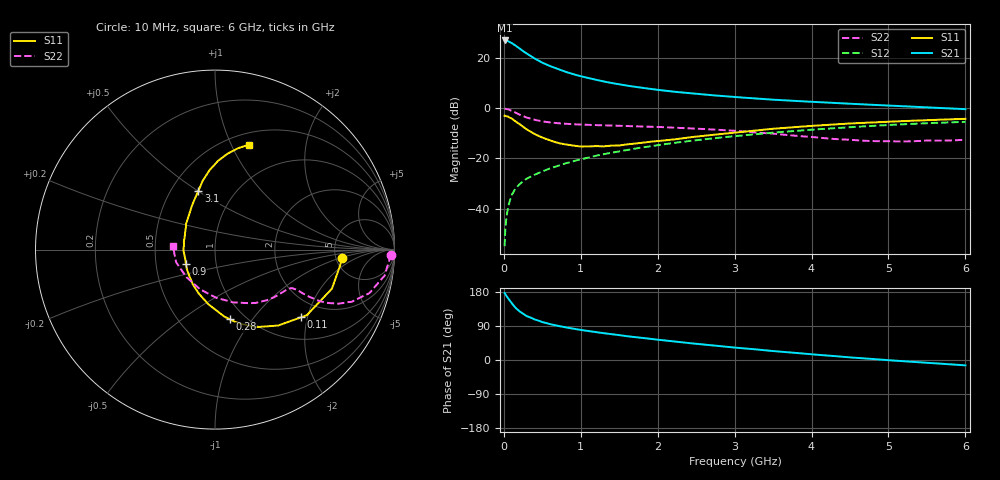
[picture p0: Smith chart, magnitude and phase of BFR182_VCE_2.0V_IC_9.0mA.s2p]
! (c) 2015  Infineon Technologies AG, Munich
! Infineon Technologies  Discrete & RF Semiconductors
! BFR182
! VCE =  2.0 V,  IC =  9.0 mA
! Common Emitter S-Parameters:  Nov 2015
# GHz  S  MA  R  50
!  f  S11  S21  S12  S22
! GHz  MAG  ANG  MAG  ANG  MAG  ANG  MAG  ANG
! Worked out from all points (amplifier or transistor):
!   210 points, 10 MHz to 6 GHz, reference 50 ohm
!   highest |S21| = 27.0 dB at 10 MHz (marker M1)
!   |S21| within 3 dB of that: start of sweep to 195.2 MHz
!   unconditionally stable (mu >= 1): 790.1 MHz to 2.677 GHz
!   at 185 MHz: K = 0.49, MSG = 27.5 dB, |S12| = -30.8 dB
!   at 1.52 GHz: K = 1.06, MAG = 11.8 dB, |S12| = -17.0 dB
!   at 6 GHz: K = 0.89, MSG = 2.5 dB, |S12| = -5.4 dB
!   S11 on the Smith chart (normalised r, x): 10 MHz: 5.68, -1.08; 110 MHz: 1.52, -1.83; 280 MHz: 0.85, -0.78; 900 MHz: 0.71, -0.12; 3.1 GHz: 0.68, +0.50; 6 GHz: 0.62, +1.17
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0.01  0.7099 -3.8  22.26 176.8  0.0018 89.1  0.9826 -1.7
0.02  0.7019 -7.5  22.18 173.3  0.004 90.0  0.9725 -3.5
0.05  0.6869 -18.5  21.77 164.2  0.0097 83.8  0.956 -8.7
0.1  0.629 -35.5  19.91 150.3  0.0183 73.9  0.8941 -15.7
0.11  0.6103 -38.1  19.4 148.0  0.0196 72.7  0.8781 -16.6
0.15  0.5505 -50.2  17.73 137.8  0.025 69.3  0.8169 -20.8
0.2  0.4888 -62.1  15.57 129.0  0.0303 67.2  0.7498 -23.7
0.24  0.4394 -70.5  14.02 123.2  0.0342 65.5  0.7057 -25.0
0.28  0.3966 -78.1  12.72 118.1  0.038 65.2  0.6674 -25.9
0.3  0.3772 -82.0  12.12 115.5  0.0398 65.2  0.6491 -26.2
0.4  0.3067 -96.9  9.75 107.1  0.0474 64.7  0.5864 -26.6
0.5  0.261 -110.3  8.04 100.1  0.0552 65.5  0.5466 -26.5
0.6  0.2298 -122.6  6.883 94.7  0.0634 66.1  0.5202 -26.2
0.7  0.2047 -134.6  6.007 90.1  0.0711 66.7  0.502 -26.3
0.9  0.1808 -153.5  4.746 82.6  0.088 67.0  0.4797 -26.6
1.02  0.1731 -165.6  4.25 78.8  0.0977 67.4  0.4712 -27.3
1.4  0.1802 164.5  3.169 68.1  0.1301 66.5  0.4515 -30.8
2.02  0.2233 134.1  2.299 53.2  0.1859 62.8  0.423 -38.9
3.1  0.3384 106.0  1.629 31.1  0.2873 53.2  0.3451 -59.6
4.1  0.4547 92.5  1.316 13.4  0.3825 42.3  0.2588 -92.9
5.1  0.5473 81.3  1.112 -1.8  0.4715 29.8  0.2186 -141.2
6  0.6154 72.0  0.957 -14.1  0.5344 17.3  0.2361 174.6
